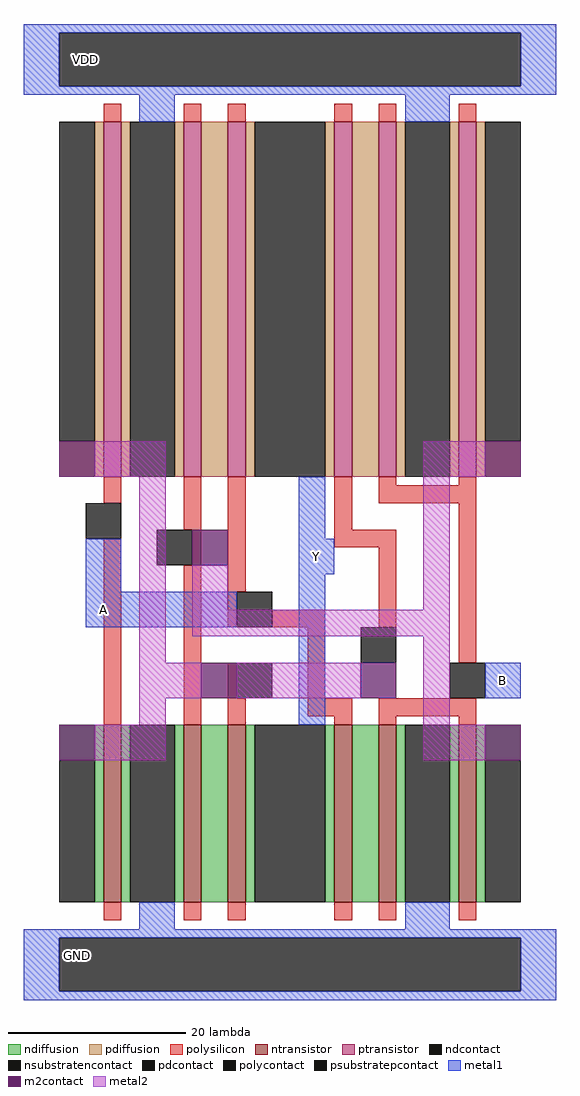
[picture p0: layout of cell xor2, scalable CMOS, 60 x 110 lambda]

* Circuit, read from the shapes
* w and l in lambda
.subckt xor2 A B GND VDD Y
M1 GND A n1 GND nfet w=20 l=2
M2 n2 n3 GND GND nfet w=20 l=2
M3 Y n1 n2 GND nfet w=20 l=2
M4 n4 A Y GND nfet w=20 l=2
M5 GND B n4 GND nfet w=20 l=2
M6 n3 B GND GND nfet w=20 l=2
M7 VDD A n1 VDD pfet w=40 l=2
M8 n5 n3 VDD VDD pfet w=40 l=2
M9 Y A n5 VDD pfet w=40 l=2
M10 n6 n1 Y VDD pfet w=40 l=2
M11 VDD B n6 VDD pfet w=40 l=2
M12 n3 B VDD VDD pfet w=40 l=2
.ends

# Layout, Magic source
magic
tech scmos
<< ntransistor >>
rect 22 6 24 26
rect 31 6 33 26
rect 36 6 38 26
rect 48 6 50 26
rect 53 6 55 26
rect 62 6 64 26
<< ptransistor >>
rect 22 54 24 94
rect 31 54 33 94
rect 36 54 38 94
rect 48 54 50 94
rect 53 54 55 94
rect 62 54 64 94
<< ndiffusion >>
rect 17 22 22 26
rect 21 6 22 22
rect 24 6 25 26
rect 30 6 31 26
rect 33 6 36 26
rect 38 6 39 26
rect 47 6 48 26
rect 50 6 53 26
rect 55 6 56 26
rect 61 6 62 26
rect 64 22 69 26
rect 64 6 65 22
<< pdiffusion >>
rect 21 58 22 94
rect 17 54 22 58
rect 24 54 25 94
rect 30 54 31 94
rect 33 54 36 94
rect 38 54 39 94
rect 47 54 48 94
rect 50 54 53 94
rect 55 54 56 94
rect 61 54 62 94
rect 64 58 65 94
rect 64 54 69 58
<< ndcontact >>
rect 17 6 21 22
rect 25 6 30 26
rect 39 6 47 26
rect 56 6 61 26
rect 65 6 69 22
<< pdcontact >>
rect 17 58 21 94
rect 25 54 30 94
rect 39 54 47 94
rect 56 54 61 94
rect 65 58 69 94
<< psubstratepcontact >>
rect 17 -4 69 2
<< nsubstratencontact >>
rect 17 98 69 104
<< polysilicon >>
rect 22 94 24 96
rect 31 94 33 96
rect 36 94 38 96
rect 48 94 50 96
rect 53 94 55 96
rect 62 94 64 96
rect 22 51 24 54
rect 31 48 33 54
rect 22 26 24 47
rect 32 44 33 48
rect 31 26 33 44
rect 36 41 38 54
rect 48 48 50 54
rect 53 53 55 54
rect 62 53 64 54
rect 53 51 64 53
rect 48 46 55 48
rect 36 37 37 41
rect 41 37 47 39
rect 53 37 55 46
rect 36 29 37 33
rect 45 29 47 37
rect 62 33 64 51
rect 36 26 38 29
rect 45 27 50 29
rect 48 26 50 27
rect 53 27 64 29
rect 53 26 55 27
rect 62 26 64 27
rect 22 4 24 6
rect 31 4 33 6
rect 36 4 38 6
rect 48 4 50 6
rect 53 4 55 6
rect 62 4 64 6
<< polycontact >>
rect 20 47 24 51
rect 28 44 32 48
rect 37 37 41 41
rect 37 29 41 33
rect 51 33 55 37
rect 61 29 65 33
<< metal1 >>
rect 13 104 73 105
rect 13 98 17 104
rect 69 98 73 104
rect 13 97 73 98
rect 26 94 30 97
rect 56 94 61 97
rect 20 41 24 47
rect 44 47 47 54
rect 44 43 48 47
rect 20 37 37 41
rect 44 26 47 43
rect 65 29 69 33
rect 26 3 30 6
rect 56 3 61 6
rect 13 2 73 3
rect 13 -4 17 2
rect 69 -4 73 2
rect 13 -5 73 -4
<< m2contact >>
rect 17 54 21 58
rect 65 54 69 58
rect 32 44 36 48
rect 33 29 37 33
rect 51 29 55 33
rect 17 22 21 26
rect 65 22 69 26
<< metal2 >>
rect 21 54 29 58
rect 26 33 29 54
rect 58 54 65 58
rect 32 39 36 44
rect 58 39 61 54
rect 32 36 61 39
rect 26 29 33 33
rect 37 29 51 33
rect 26 26 29 29
rect 21 22 29 26
rect 58 26 61 36
rect 58 22 65 26
<< labels >>
rlabel metal1 22 39 22 39 0 A
rlabel metal1 67 31 67 31 1 B
rlabel metal1 46 45 46 45 0 Y
rlabel psubstratepcontact 19 0 19 0 0 GND
rlabel nsubstratencontact 20 101 20 101 0 VDD
<< end >>
